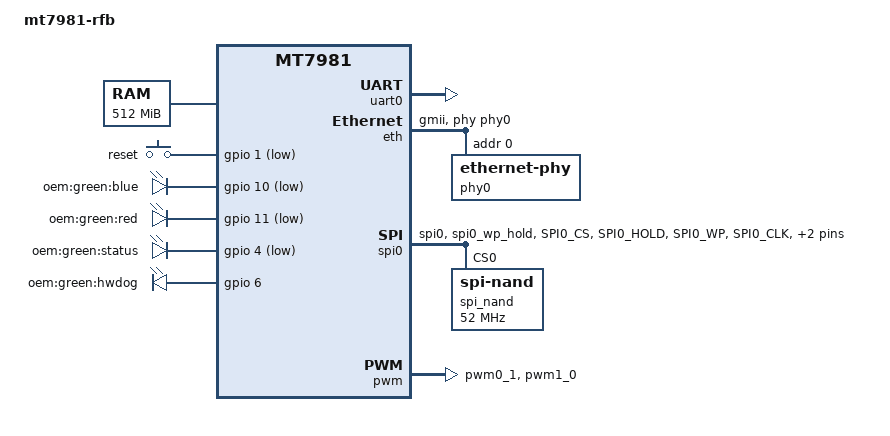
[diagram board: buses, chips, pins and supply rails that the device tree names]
// SPDX-License-Identifier: GPL-2.0
/*
 * Copyright (c) 2021 MediaTek Inc.
 * Author: Sam Shih <sam.shih@mediatek.com>
 */

/dts-v1/;
#include "mt7981.dtsi"
#include <dt-bindings/gpio/gpio.h>

/ {
	#address-cells = <1>;
	#size-cells = <1>;
	model = "mt7981-rfb";
	compatible = "mediatek,mt7981", "mediatek,mt7981-rfb";
	chosen {
		stdout-path = &uart0;
		tick-timer = &timer0;
	};

	memory@40000000 {
		device_type = "memory";
		reg = <0x40000000 0x20000000>;
	};

	config {
		system_led = "oem:green:status";
		gpio_power_clr = <39>;
		reset_led = "oem:green:red";
		hwdog_trigger = "oem:green:hwdog";
	};

	gpio-keys-polled {
		compatible = "gpio-keys";

		reset-button {
			label = "reset";
			gpios = <&gpio 1 GPIO_ACTIVE_LOW>;
		};
	};

	leds {
		compatible = "gpio-leds";

		led@0 {
			label = "oem:green:blue";
			gpios = <&gpio 10 GPIO_ACTIVE_LOW>;
		};

		led@1 {
			label = "oem:green:red";
			gpios = <&gpio 11 GPIO_ACTIVE_LOW>;
		};

		led@2 {
			label = "oem:green:status";
			gpios = <&gpio 4 GPIO_ACTIVE_LOW>;
		};
		
		led@3 {
			label = "oem:green:hwdog";
			gpios = <&gpio 6 GPIO_ACTIVE_HIGH>;
		};		
	};
};

&uart0 {
	status = "okay";
};

&uart1 {
	pinctrl-names = "default";
	pinctrl-0 = <&uart1_pins>;
	status = "disabled";
};

&eth {
	status = "okay";
	
	mediatek,gmac-id = <1>;
	phy-mode = "gmii";
	phy-handle = <&phy0>;

	phy0: ethernet-phy@0 {
		reg = <0>;
		phy-mode = "gmii";
	};

};

&pinctrl {
	spi_flash_pins: spi0-pins-func-1 {
		mux {
			function = "flash";
			groups = "spi0", "spi0_wp_hold";
		};

		conf-pu {
			pins = "SPI0_CS", "SPI0_HOLD", "SPI0_WP";
			drive-strength = <MTK_DRIVE_8mA>;
			bias-pull-up = <MTK_PUPD_SET_R1R0_11>;
		};

		conf-pd {
			pins = "SPI0_CLK", "SPI0_MOSI", "SPI0_MISO";
			drive-strength = <MTK_DRIVE_8mA>;
			bias-pull-down = <MTK_PUPD_SET_R1R0_11>;
		};
	};

	spic_pins: spi1-pins-func-1 {
		mux {
			function = "spi";
			groups = "spi1_1";
		};
	};

	uart1_pins: spi1-pins-func-3 {
		mux {
			function = "uart";
			groups = "uart1_2";
		};
	};

	/* pin15 as pwm0 */
	one_pwm_pins: one-pwm-pins {
		mux {
			function = "pwm";
			groups = "pwm0_1";
		};
	};

	/* pin15 as pwm0 and pin14 as pwm1 */
	two_pwm_pins: two-pwm-pins {
		mux {
			function = "pwm";
			groups = "pwm0_1", "pwm1_0";
		};
	};

	/* pin15 as pwm0, pin14 as pwm1, pin7 as pwm2 */
	three_pwm_pins: three-pwm-pins {
		mux {
			function = "pwm";
			groups = "pwm0_1", "pwm1_0", "pwm2";
		};
	};
};

&spi0 {
	#address-cells = <1>;
	#size-cells = <0>;
	pinctrl-names = "default";
	pinctrl-0 = <&spi_flash_pins>;
	status = "okay";
	must_tx;
	enhance_timing;
	dma_ext;
	ipm_design;
	support_quad;
	tick_dly = <2>;
	sample_sel = <0>;

	spi_nand@0 {
		compatible = "spi-nand";
		reg = <0>;
		spi-max-frequency = <52000000>;
	};
};

&pwm {
	pinctrl-names = "default";
	pinctrl-0 = <&two_pwm_pins>;
	status = "okay";
};

&watchdog {
	status = "disabled";
};
